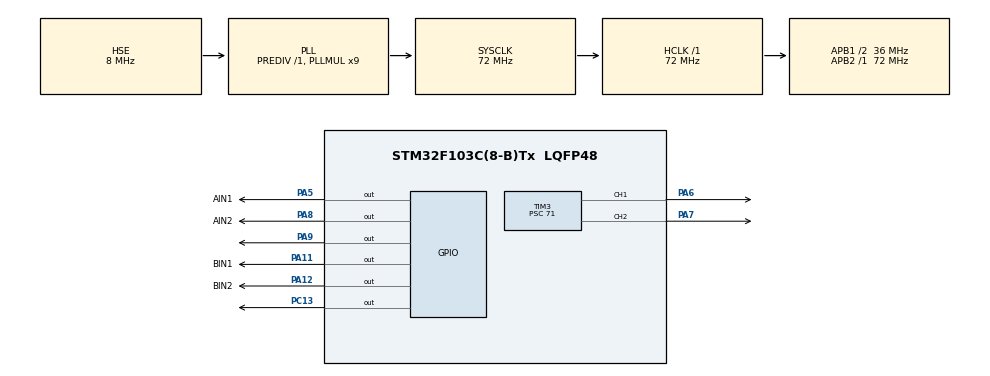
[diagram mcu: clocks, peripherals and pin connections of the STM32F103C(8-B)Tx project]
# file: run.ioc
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Mcu.Family=STM32F1
Mcu.Name=STM32F103C(8-B)Tx
Mcu.Package=LQFP48
NVIC.PriorityGroup=NVIC_PRIORITYGROUP_4
PA11.GPIO_Label=BIN1
PA11.GPIO_ModeDefaultOutputPP=GPIO_MODE_OUTPUT_PP
PA11.GPIO_Speed=GPIO_SPEED_FREQ_LOW
PA11.PinState=GPIO_PIN_RESET
PA11.Signal=GPIO_Output
PA12.GPIO_Label=BIN2
PA12.GPIO_ModeDefaultOutputPP=GPIO_MODE_OUTPUT_PP
PA12.GPIO_Speed=GPIO_SPEED_FREQ_LOW
PA12.PinState=GPIO_PIN_RESET
PA12.Signal=GPIO_Output
PA13.Mode=Serial_Wire
PA13.Signal=SYS_JTMS-SWDIO
PA14.Mode=Serial_Wire
PA14.Signal=SYS_JTCK-SWCLK
PA5.GPIO_Label=AIN1
PA5.GPIO_ModeDefaultOutputPP=GPIO_MODE_OUTPUT_PP
PA5.GPIO_Speed=GPIO_SPEED_FREQ_LOW
PA5.PinState=GPIO_PIN_RESET
PA5.Signal=GPIO_Output
PA6.Signal=S_TIM3_CH1
PA7.Signal=S_TIM3_CH2
PA8.GPIO_Label=AIN2
PA8.GPIO_ModeDefaultOutputPP=GPIO_MODE_OUTPUT_PP
PA8.GPIO_Speed=GPIO_SPEED_FREQ_LOW
PA8.PinState=GPIO_PIN_RESET
PA8.Signal=GPIO_Output
PA9.GPIO_ModeDefaultOutputPP=GPIO_MODE_OUTPUT_PP
PA9.GPIO_Speed=GPIO_SPEED_FREQ_LOW
PA9.PinState=GPIO_PIN_RESET
PA9.Signal=GPIO_Output
PC13-TAMPER-RTC.GPIO_ModeDefaultOutputPP=GPIO_MODE_OUTPUT_OD
PC13-TAMPER-RTC.GPIO_PuPd=GPIO_NOPULL
PC13-TAMPER-RTC.GPIO_Speed=GPIO_SPEED_FREQ_LOW
PC13-TAMPER-RTC.PinState=GPIO_PIN_SET
PC13-TAMPER-RTC.Signal=GPIO_Output
PD0-OSC_IN.Mode=HSE-External-Oscillator
PD0-OSC_IN.Signal=RCC_OSC_IN
PD1-OSC_OUT.Mode=HSE-External-Oscillator
PD1-OSC_OUT.Signal=RCC_OSC_OUT
ProjectManager.HeapSize=0x200
ProjectManager.StackSize=0x400
ProjectManager.TargetToolchain=MDK-ARM V5.32
RCC.AHBFreq_Value=72000000
RCC.APB1CLKDivider=RCC_HCLK_DIV2
RCC.APB1Freq_Value=36000000
RCC.APB1TimFreq_Value=72000000
RCC.APB2CLKDivider=RCC_HCLK_DIV1
RCC.APB2Freq_Value=72000000
RCC.APB2TimFreq_Value=72000000
RCC.HCLKFreq_Value=72000000
RCC.HSEDivPLL=RCC_HSE_PREDIV_DIV1
RCC.HSE_VALUE=8000000
RCC.PLLMUL=RCC_PLL_MUL9
RCC.PLLSourceVirtual=RCC_PLLSOURCE_HSE
RCC.SYSCLKFreq_VALUE=72000000
RCC.SYSCLKSource=RCC_SYSCLKSOURCE_PLLCLK
RCC.USBFreq_Value=72000000
SH.S_TIM3_CH1.0=TIM3_CH1,PWM Generation1 CH1
SH.S_TIM3_CH2.0=TIM3_CH2,PWM Generation2 CH2
TIM3.Channel-PWM\ Generation1\ CH1=TIM_CHANNEL_1
TIM3.Channel-PWM\ Generation2\ CH2=TIM_CHANNEL_2
TIM3.Period=999
TIM3.Prescaler=71
VP_TIM3_VS_ClockSourceINT.Mode=Internal
board=custom

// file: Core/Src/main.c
/* USER CODE BEGIN Header */
/**
  ******************************************************************************
  * @file           : main.c
  * @brief          : Main program body
  ******************************************************************************
  * @attention
  *
  * Copyright (c) 2026 STMicroelectronics.
  * All rights reserved.
  *
  * This software is licensed under terms that can be found in the LICENSE file
  * in the root directory of this software component.
  * If no LICENSE file comes with this software, it is provided AS-IS.
  *
  ******************************************************************************
  */
/* USER CODE END Header */
#include "main.h"

TIM_HandleTypeDef htim3;

void SystemClock_Config(void);
static void MX_GPIO_Init(void);
static void MX_TIM3_Init(void);

int main(void)
{

  /* MCU Configuration--------------------------------------------------------*/

  /* Reset of all peripherals, Initializes the Flash interface and the Systick. */
  HAL_Init();

  /* Configure the system clock */
  SystemClock_Config();

  /* Initialize all configured peripherals */
  MX_GPIO_Init();
  MX_TIM3_Init();
  /* USER CODE BEGIN 2 */
  HAL_TIM_PWM_Start(&htim3, TIM_CHANNEL_1);   /* PA6 -> PWMA 左轮 */
  HAL_TIM_PWM_Start(&htim3, TIM_CHANNEL_2);   /* PA7 -> PWMB 右轮 */
  /* USER CODE END 2 */

  /* Infinite loop */
  while (1)
  {

    /* USER CODE BEGIN 3 */
    /* 1. 左轮正转 2 秒（AIN1=1, AIN2=0, 占空比 700/999） */
    HAL_GPIO_WritePin(GPIOA, AIN1_Pin, GPIO_PIN_SET);
    HAL_GPIO_WritePin(GPIOA, AIN2_Pin, GPIO_PIN_RESET);
    __HAL_TIM_SET_COMPARE(&htim3, TIM_CHANNEL_1, 700);
    HAL_Delay(2000);

    /* 2. 左轮停 1 秒 */
    __HAL_TIM_SET_COMPARE(&htim3, TIM_CHANNEL_1, 0);
    HAL_GPIO_WritePin(GPIOA, AIN1_Pin, GPIO_PIN_RESET);
    HAL_Delay(1000);

    /* 3. 右轮正转 2 秒（BIN1=1, BIN2=0） */
    HAL_GPIO_WritePin(GPIOA, BIN1_Pin, GPIO_PIN_SET);
    HAL_GPIO_WritePin(GPIOA, BIN2_Pin, GPIO_PIN_RESET);
    __HAL_TIM_SET_COMPARE(&htim3, TIM_CHANNEL_2, 700);
    HAL_Delay(2000);

    /* 4. 右轮停 1 秒 */
    __HAL_TIM_SET_COMPARE(&htim3, TIM_CHANNEL_2, 0);
    HAL_GPIO_WritePin(GPIOA, BIN1_Pin, GPIO_PIN_RESET);
    HAL_Delay(1000);
    /* USER CODE END 3 */
  }
  /* USER CODE END 3 */
}

void SystemClock_Config(void)
{
  RCC_OscInitTypeDef RCC_OscInitStruct = {0};
  RCC_ClkInitTypeDef RCC_ClkInitStruct = {0};

  /** Initializes the RCC Oscillators according to the specified parameters
  * in the RCC_OscInitTypeDef structure.
  */
  RCC_OscInitStruct.OscillatorType = RCC_OSCILLATORTYPE_HSE;
  RCC_OscInitStruct.HSEState = RCC_HSE_ON;
  RCC_OscInitStruct.HSEPredivValue = RCC_HSE_PREDIV_DIV1;
  RCC_OscInitStruct.HSIState = RCC_HSI_ON;
  RCC_OscInitStruct.PLL.PLLState = RCC_PLL_ON;
  RCC_OscInitStruct.PLL.PLLSource = RCC_PLLSOURCE_HSE;
  RCC_OscInitStruct.PLL.PLLMUL = RCC_PLL_MUL9;
  if (HAL_RCC_OscConfig(&RCC_OscInitStruct) != HAL_OK)
  {
    Error_Handler();
  }

  /** Initializes the CPU, AHB and APB buses clocks
  */
  RCC_ClkInitStruct.ClockType = RCC_CLOCKTYPE_HCLK|RCC_CLOCKTYPE_SYSCLK
                              |RCC_CLOCKTYPE_PCLK1|RCC_CLOCKTYPE_PCLK2;
  RCC_ClkInitStruct.SYSCLKSource = RCC_SYSCLKSOURCE_PLLCLK;
  RCC_ClkInitStruct.AHBCLKDivider = RCC_SYSCLK_DIV1;
  RCC_ClkInitStruct.APB1CLKDivider = RCC_HCLK_DIV2;
  RCC_ClkInitStruct.APB2CLKDivider = RCC_HCLK_DIV1;

  if (HAL_RCC_ClockConfig(&RCC_ClkInitStruct, FLASH_LATENCY_2) != HAL_OK)
  {
    Error_Handler();
  }
}

static void MX_TIM3_Init(void)
{

  TIM_ClockConfigTypeDef sClockSourceConfig = {0};
  TIM_MasterConfigTypeDef sMasterConfig = {0};
  TIM_OC_InitTypeDef sConfigOC = {0};

  htim3.Instance = TIM3;
  htim3.Init.Prescaler = 71;
  htim3.Init.CounterMode = TIM_COUNTERMODE_UP;
  htim3.Init.Period = 999;
  htim3.Init.ClockDivision = TIM_CLOCKDIVISION_DIV1;
  htim3.Init.AutoReloadPreload = TIM_AUTORELOAD_PRELOAD_DISABLE;
  if (HAL_TIM_Base_Init(&htim3) != HAL_OK)
  {
    Error_Handler();
  }
  sClockSourceConfig.ClockSource = TIM_CLOCKSOURCE_INTERNAL;
  if (HAL_TIM_ConfigClockSource(&htim3, &sClockSourceConfig) != HAL_OK)
  {
    Error_Handler();
  }
  if (HAL_TIM_PWM_Init(&htim3) != HAL_OK)
  {
    Error_Handler();
  }
  sMasterConfig.MasterOutputTrigger = TIM_TRGO_RESET;
  sMasterConfig.MasterSlaveMode = TIM_MASTERSLAVEMODE_DISABLE;
  if (HAL_TIMEx_MasterConfigSynchronization(&htim3, &sMasterConfig) != HAL_OK)
  {
    Error_Handler();
  }
  sConfigOC.OCMode = TIM_OCMODE_PWM1;
  sConfigOC.Pulse = 0;
  sConfigOC.OCPolarity = TIM_OCPOLARITY_HIGH;
  sConfigOC.OCFastMode = TIM_OCFAST_DISABLE;
  if (HAL_TIM_PWM_ConfigChannel(&htim3, &sConfigOC, TIM_CHANNEL_1) != HAL_OK)
  {
    Error_Handler();
  }
  if (HAL_TIM_PWM_ConfigChannel(&htim3, &sConfigOC, TIM_CHANNEL_2) != HAL_OK)
  {
    Error_Handler();
  }
  HAL_TIM_MspPostInit(&htim3);

}

static void MX_GPIO_Init(void)
{
  GPIO_InitTypeDef GPIO_InitStruct = {0};

  /* GPIO Ports Clock Enable */
  __HAL_RCC_GPIOC_CLK_ENABLE();
  __HAL_RCC_GPIOD_CLK_ENABLE();
  __HAL_RCC_GPIOA_CLK_ENABLE();

  /*Configure GPIO pin Output Level */
  HAL_GPIO_WritePin(GPIOC, GPIO_PIN_13, GPIO_PIN_SET);

  /*Configure GPIO pin Output Level */
  HAL_GPIO_WritePin(GPIOA, AIN1_Pin|AIN2_Pin|GPIO_PIN_9|BIN1_Pin
                          |BIN2_Pin, GPIO_PIN_RESET);

  /*Configure GPIO pin : PC13 */
  GPIO_InitStruct.Pin = GPIO_PIN_13;
  GPIO_InitStruct.Mode = GPIO_MODE_OUTPUT_OD;
  GPIO_InitStruct.Pull = GPIO_NOPULL;
  GPIO_InitStruct.Speed = GPIO_SPEED_FREQ_LOW;
  HAL_GPIO_Init(GPIOC, &GPIO_InitStruct);

  /*Configure GPIO pins : AIN1_Pin AIN2_Pin PA9 BIN1_Pin
                           BIN2_Pin */
  GPIO_InitStruct.Pin = AIN1_Pin|AIN2_Pin|GPIO_PIN_9|BIN1_Pin
                          |BIN2_Pin;
  GPIO_InitStruct.Mode = GPIO_MODE_OUTPUT_PP;
  GPIO_InitStruct.Pull = GPIO_NOPULL;
  GPIO_InitStruct.Speed = GPIO_SPEED_FREQ_LOW;
  HAL_GPIO_Init(GPIOA, &GPIO_InitStruct);

}

void Error_Handler(void)
{
  __disable_irq();
  while (1)
  {
  }
}
